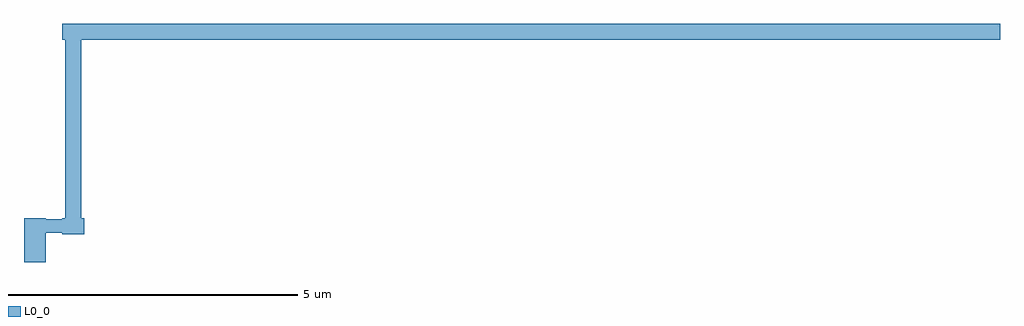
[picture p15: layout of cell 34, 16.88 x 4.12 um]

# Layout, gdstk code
import gdstk
lib = gdstk.Library(unit=1e-6, precision=1e-09)
def P(c, l, *ps):  # polygons
    for p in ps: c.add(gdstk.Polygon(p, *l))
L0_0 = (0, 0)

c_34 = lib.new_cell('34')
P(c_34, L0_0, [(968.55,903.675),(969.325,903.675),(969.325,903.445),(968.55,903.445),(968.55,903.675)],
  [(969.02,903.7),(969.4,903.7),(969.4,903.42),(969.02,903.42),(969.02,903.7)],
  [(968.36,902.935),(968.36,903.7),(968.74,903.7),(968.74,902.935),(968.36,902.935)],
  [(969.02,907.06),(969.4,907.06),(969.4,906.78),(969.02,906.78),(969.02,907.06)],
  [(969.02,903.7),(969.4,903.7),(969.4,903.42),(969.02,903.42),(969.02,903.7)],
  [(969.07,903.42),(969.07,907.06),(969.35,907.06),(969.35,903.42),(969.07,903.42)],
  [(984.2,907.06),(984.58,907.06),(984.58,906.78),(984.2,906.78),(984.2,907.06)],
  [(980.24,907.06),(980.62,907.06),(980.62,906.78),(980.24,906.78),(980.24,907.06)],
  [(969.07,907.06),(980.57,907.06),(980.57,906.78),(969.07,906.78),(969.07,907.06)],
  [(980.29,907.06),(984.53,907.06),(984.53,906.78),(980.29,906.78),(980.29,907.06)],
  [(984.25,907.06),(985.19,907.06),(985.19,906.78),(984.25,906.78),(984.25,907.06)],
  [(969.02,907.06),(969.4,907.06),(969.4,906.78),(969.02,906.78),(969.02,907.06)],
  [(984.86,907.06),(985.24,907.06),(985.24,906.78),(984.86,906.78),(984.86,907.06)])

lib.write_gds('34.gds')
